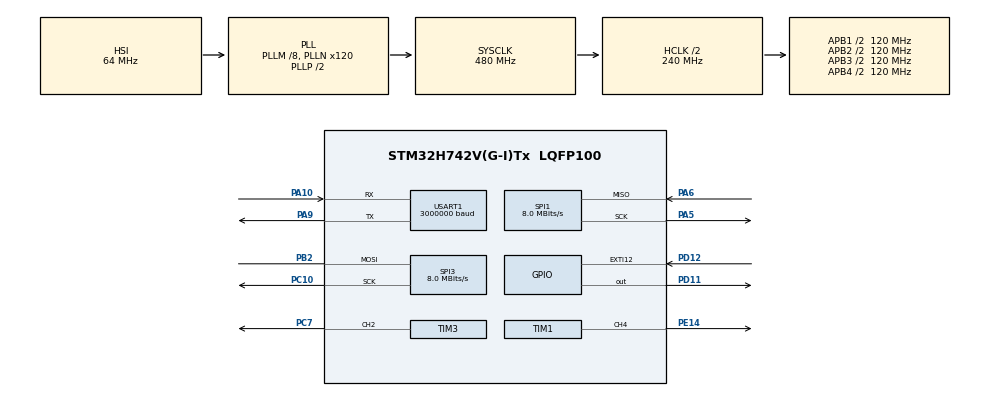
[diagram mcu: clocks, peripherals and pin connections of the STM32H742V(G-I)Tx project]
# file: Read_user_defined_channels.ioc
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CORTEX_M7.default_mode_Activation=1
Dma.Request0=SPI1_RX
Dma.Request1=USART1_TX
Dma.Request2=USART1_RX
Dma.SPI1_RX.0.Direction=DMA_PERIPH_TO_MEMORY
Dma.SPI1_RX.0.EventEnable=DISABLE
Dma.SPI1_RX.0.FIFOMode=DMA_FIFOMODE_DISABLE
Dma.SPI1_RX.0.Instance=DMA1_Stream0
Dma.SPI1_RX.0.MemDataAlignment=DMA_MDATAALIGN_HALFWORD
Dma.SPI1_RX.0.MemInc=DMA_MINC_ENABLE
Dma.SPI1_RX.0.Mode=DMA_NORMAL
Dma.SPI1_RX.0.PeriphDataAlignment=DMA_PDATAALIGN_HALFWORD
Dma.SPI1_RX.0.PeriphInc=DMA_PINC_DISABLE
Dma.SPI1_RX.0.Polarity=HAL_DMAMUX_REQ_GEN_RISING
Dma.SPI1_RX.0.Priority=DMA_PRIORITY_HIGH
Dma.SPI1_RX.0.RequestNumber=1
Dma.SPI1_RX.0.SignalID=NONE
Dma.SPI1_RX.0.SyncEnable=DISABLE
Dma.SPI1_RX.0.SyncPolarity=HAL_DMAMUX_SYNC_NO_EVENT
Dma.SPI1_RX.0.SyncRequestNumber=1
Dma.SPI1_RX.0.SyncSignalID=NONE
Dma.USART1_RX.2.Direction=DMA_PERIPH_TO_MEMORY
Dma.USART1_RX.2.EventEnable=DISABLE
Dma.USART1_RX.2.FIFOMode=DMA_FIFOMODE_DISABLE
Dma.USART1_RX.2.Instance=DMA1_Stream2
Dma.USART1_RX.2.MemDataAlignment=DMA_MDATAALIGN_BYTE
Dma.USART1_RX.2.MemInc=DMA_MINC_ENABLE
Dma.USART1_RX.2.Mode=DMA_CIRCULAR
Dma.USART1_RX.2.PeriphDataAlignment=DMA_PDATAALIGN_BYTE
Dma.USART1_RX.2.PeriphInc=DMA_PINC_DISABLE
Dma.USART1_RX.2.Polarity=HAL_DMAMUX_REQ_GEN_RISING
Dma.USART1_RX.2.Priority=DMA_PRIORITY_LOW
Dma.USART1_RX.2.RequestNumber=1
Dma.USART1_RX.2.SignalID=NONE
Dma.USART1_RX.2.SyncEnable=DISABLE
Dma.USART1_RX.2.SyncPolarity=HAL_DMAMUX_SYNC_NO_EVENT
Dma.USART1_RX.2.SyncRequestNumber=1
Dma.USART1_RX.2.SyncSignalID=NONE
Dma.USART1_TX.1.Direction=DMA_MEMORY_TO_PERIPH
Dma.USART1_TX.1.EventEnable=DISABLE
Dma.USART1_TX.1.FIFOMode=DMA_FIFOMODE_DISABLE
Dma.USART1_TX.1.Instance=DMA1_Stream1
Dma.USART1_TX.1.MemDataAlignment=DMA_MDATAALIGN_BYTE
Dma.USART1_TX.1.MemInc=DMA_MINC_ENABLE
Dma.USART1_TX.1.Mode=DMA_NORMAL
Dma.USART1_TX.1.PeriphDataAlignment=DMA_PDATAALIGN_BYTE
Dma.USART1_TX.1.PeriphInc=DMA_PINC_DISABLE
Dma.USART1_TX.1.Polarity=HAL_DMAMUX_REQ_GEN_RISING
Dma.USART1_TX.1.Priority=DMA_PRIORITY_LOW
Dma.USART1_TX.1.RequestNumber=1
Dma.USART1_TX.1.SignalID=NONE
Dma.USART1_TX.1.SyncEnable=DISABLE
Dma.USART1_TX.1.SyncPolarity=HAL_DMAMUX_SYNC_NO_EVENT
Dma.USART1_TX.1.SyncRequestNumber=1
Dma.USART1_TX.1.SyncSignalID=NONE
Mcu.Family=STM32H7
Mcu.Name=STM32H742V(G-I)Tx
Mcu.Package=LQFP100
NVIC.DMA1_Stream0_IRQn=true\:0\:0\:false\:false\:true\:false\:true\:true
NVIC.DMA1_Stream1_IRQn=true\:0\:0\:false\:false\:true\:false\:true\:true
NVIC.DMA1_Stream2_IRQn=true\:0\:0\:false\:false\:true\:false\:true\:true
NVIC.EXTI15_10_IRQn=true\:0\:0\:false\:false\:true\:true\:true\:true
NVIC.PriorityGroup=NVIC_PRIORITYGROUP_4
NVIC.SPI1_IRQn=true\:0\:0\:false\:false\:true\:false\:true\:true
NVIC.TIM2_IRQn=true\:0\:0\:false\:false\:true\:true\:true\:true
NVIC.USART1_IRQn=true\:0\:0\:false\:false\:true\:true\:true\:true
PA10.Mode=Asynchronous
PA10.Signal=USART1_RX
PA5.GPIO_Speed=GPIO_SPEED_FREQ_VERY_HIGH
PA5.Mode=RX_Only_Simplex_Unidirect_Master
PA5.Signal=SPI1_SCK
PA6.GPIO_Speed=GPIO_SPEED_FREQ_VERY_HIGH
PA6.Mode=RX_Only_Simplex_Unidirect_Master
PA6.Signal=SPI1_MISO
PA9.Mode=Asynchronous
PA9.Signal=USART1_TX
PB2.GPIO_Speed=GPIO_SPEED_FREQ_VERY_HIGH
PB2.Mode=Simplex_Bidirectional_Master
PB2.Signal=SPI3_MOSI
PC10.Mode=Simplex_Bidirectional_Master
PC10.Signal=SPI3_SCK
PC7.Signal=S_TIM3_CH2
PD11.PinState=GPIO_PIN_SET
PD11.Signal=GPIO_Output
PD12.GPIO_ModeDefaultEXTI=GPIO_MODE_IT_FALLING
PD12.GPIO_PuPd=GPIO_PULLUP
PD12.Signal=GPXTI12
PE14.Signal=S_TIM1_CH4
ProjectManager.HeapSize=0x200
ProjectManager.StackSize=0x400
ProjectManager.TargetToolchain=STM32CubeIDE
RCC.ADCFreq_Value=32000000
RCC.APB1Freq_Value=120000000
RCC.APB2Freq_Value=120000000
RCC.APB3Freq_Value=120000000
RCC.APB4Freq_Value=120000000
RCC.CortexFreq_Value=480000000
RCC.D1PPRE=RCC_APB3_DIV2
RCC.D2PPRE1=RCC_APB1_DIV2
RCC.D2PPRE2=RCC_APB2_DIV2
RCC.D3PPRE=RCC_APB4_DIV2
RCC.DIVM1=8
RCC.DIVM2=8
RCC.DIVN1=120
RCC.DIVN2=64
RCC.DIVP2=16
RCC.HCLKFreq_Value=240000000
RCC.HPRE=RCC_HCLK_DIV2
RCC.PLLFRACN=0
RCC.SPI123CLockSelection=RCC_SPI123CLKSOURCE_PLL2
RCC.SYSCLKFreq_VALUE=480000000
RCC.SYSCLKSource=RCC_SYSCLKSOURCE_PLLCLK
RCC.USBFreq_Value=480000000
SH.S_TIM1_CH4.0=TIM1_CH4,PWM Generation4 CH4
SH.S_TIM3_CH2.0=TIM3_CH2,PWM Generation2 CH2
SPI1.BaudRatePrescaler=SPI_BAUDRATEPRESCALER_4
SPI1.CLKPolarity=SPI_POLARITY_LOW
SPI1.CalculateBaudRate=8.0 MBits/s
SPI1.DataSize=SPI_DATASIZE_16BIT
SPI1.Direction=SPI_DIRECTION_2LINES_RXONLY
SPI1.Mode=SPI_MODE_MASTER
SPI1.VirtualType=VM_MASTER
SPI3.BaudRatePrescaler=SPI_BAUDRATEPRESCALER_4
SPI3.CLKPhase=SPI_PHASE_2EDGE
SPI3.CalculateBaudRate=8.0 MBits/s
SPI3.DataSize=SPI_DATASIZE_12BIT
SPI3.Direction=SPI_DIRECTION_1LINE
SPI3.Mode=SPI_MODE_MASTER
SPI3.VirtualType=VM_MASTER
TIM1.Channel-PWM\ Generation4\ CH4=TIM_CHANNEL_4
TIM1.Period=11
TIM1.Pulse-PWM\ Generation4\ CH4=6
TIM1.TIM_MasterOutputTrigger=TIM_TRGO_UPDATE
TIM1.TIM_MasterSlaveMode=TIM_MASTERSLAVEMODE_ENABLE
TIM2.Period=9
TIM2.Prescaler=23
TIM3.Channel-PWM\ Generation2\ CH2=TIM_CHANNEL_2
TIM3.Period=999
TIM3.Prescaler=19
TIM3.Pulse-PWM\ Generation2\ CH2=500
TIM3.TIM_MasterSlaveMode=TIM_MASTERSLAVEMODE_DISABLE
TIM5.Prescaler=239
USART1.BaudRate=3000000
USART1.VirtualMode-Asynchronous=VM_ASYNC
VP_MEMORYMAP_VS_MEMORYMAP.Mode=CurAppReg
VP_TIM1_VS_ClockSourceINT.Mode=Internal
VP_TIM2_VS_ClockSourceINT.Mode=Internal
VP_TIM3_VS_ClockSourceINT.Mode=Internal
VP_TIM3_VS_ClockSourceITR.Mode=TriggerSource_ITR0
VP_TIM3_VS_ControllerModeGated.Mode=Gated Mode
VP_TIM5_VS_ClockSourceINT.Mode=Internal
board=custom

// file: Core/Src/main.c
/* USER CODE BEGIN Header */
/**
  ******************************************************************************
  * @file           : main.c
  * @brief          : Main program body
  ******************************************************************************
  * @attention
  *
  * Copyright (c) 2025 STMicroelectronics.
  * All rights reserved.
  *
  * This software is licensed under terms that can be found in the LICENSE file
  * in the root directory of this software component.
  * If no LICENSE file comes with this software, it is provided AS-IS.
  *
  ******************************************************************************
  */
/* USER CODE END Header */
#include "main.h"

/* USER CODE BEGIN Includes */
#include <string.h>
#include <stdio.h>
/* USER CODE END Includes */

/* USER CODE BEGIN PTD */
#define NUM_CHANNELS 64
#define NUM_OF_DATA 32
#define HALF_NUM_OF_DATA 16
#define DIM_TEST_PACKET 8
#define MAX_SELECTED_CHANNELS NUM_CHANNELS

#define PACKET_SIZE 64
#define OFFSET 0
typedef struct __attribute__((packed)) {
    uint8_t  header[3];      // 0x3C, 0x3E, 0x00
    uint8_t n_channels;
    uint32_t timestamp_us;   // from TIM5
    int16_t  ch[PACKET_SIZE];         // channels
} SamplePacket;

/* USER CODE END PTD */

SPI_HandleTypeDef hspi1;
SPI_HandleTypeDef hspi3;
DMA_HandleTypeDef hdma_spi1_rx;

TIM_HandleTypeDef htim1;
TIM_HandleTypeDef htim2;
TIM_HandleTypeDef htim3;
TIM_HandleTypeDef htim5;

UART_HandleTypeDef huart1;
DMA_HandleTypeDef hdma_usart1_tx;
DMA_HandleTypeDef hdma_usart1_rx;

/* USER CODE BEGIN PV */
// --- System state flags ---
volatile uint8_t delay_counter = 0;		// Used during the TIM2 startup sequence (test/init logic)
volatile uint8_t acq_enabled   = 0;      // Acquisition enable/disable flag (controlled via UART commands)
volatile uint8_t uart_tx_done  = 1;      // UART DMA transmission ready flag
volatile uint16_t old_pos = 0;

// --- SPI Data Buffers ---
volatile uint16_t rx_spi_buffer[NUM_OF_DATA];   // Buffer used only for the initial test pattern sequence
volatile uint16_t spi_rx_buffer[NUM_CHANNELS];  // Main SPI data buffer (64 channels), filled by DMA

// --- Test pattern verification buffers ---
uint8_t test_packet_1[DIM_TEST_PACKET];         // Extracted bytes from the first half of rx_spi_buffer
uint8_t test_packet_2[DIM_TEST_PACKET];         // Extracted bytes from the second half of rx_spi_buffer

// Reference test packet used to validate ADC test mode output
static const uint8_t ref_packet[DIM_TEST_PACKET] =
    {0x30,0x00,0x66,0xF0,0x24,0x01,0xF6,0x80};

// --- DDC232 Configuration Command ---
static const uint16_t value = 0xEC0;    // 12-bit configuration command sent via SPI3

// --- UART Transmission Packet ---
static SamplePacket pkt;                // DMA-safe data packet (static to avoid stack corruption)

// --- UART Receive Buffers ---
#define CMD_BUFFER_SIZE 128
uint8_t uart_rx_dma_buffer[CMD_BUFFER_SIZE];
char command_buffer[CMD_BUFFER_SIZE];

uint8_t channel_mask[NUM_CHANNELS];   // 1 = canale attivo
uint8_t num_active_channels = 0;
/* USER CODE END PV */

void SystemClock_Config(void);
void PeriphCommonClock_Config(void);
static void MPU_Config(void);
static void MX_GPIO_Init(void);
static void MX_DMA_Init(void);
static void MX_TIM2_Init(void);
static void MX_USART1_UART_Init(void);
static void MX_SPI3_Init(void);
static void MX_SPI1_Init(void);
static void MX_TIM1_Init(void);
static void MX_TIM3_Init(void);
static void MX_TIM5_Init(void);
/* USER CODE BEGIN PFP */
static void enable_all_channels(void);
void parse_start_command(char *cmd);
/* USER CODE END PFP */

int main(void)
{

  /* MPU Configuration--------------------------------------------------------*/
  MPU_Config();

  /* MCU Configuration--------------------------------------------------------*/

  /* Reset of all peripherals, Initializes the Flash interface and the Systick. */
  HAL_Init();

  /* Configure the system clock */
  SystemClock_Config();

  /* Configure the peripherals common clocks */
  PeriphCommonClock_Config();

  /* Initialize all configured peripherals */
  MX_GPIO_Init();
  MX_DMA_Init();
  MX_TIM2_Init();
  MX_USART1_UART_Init();
  MX_SPI3_Init();
  MX_SPI1_Init();
  MX_TIM1_Init();
  MX_TIM3_Init();
  MX_TIM5_Init();
  /* USER CODE BEGIN 2 */
  HAL_UART_Receive_DMA(&huart1, uart_rx_dma_buffer, CMD_BUFFER_SIZE);
  __HAL_UART_ENABLE_IT(&huart1, UART_IT_IDLE);
  HAL_TIM_PWM_Start(&htim1, TIM_CHANNEL_4);
  HAL_TIM_Base_Start(&htim5);
  /* USER CODE END 2 */

  /* Infinite loop */
  while (1)
  {

  }
}

void SystemClock_Config(void)
{
  RCC_OscInitTypeDef RCC_OscInitStruct = {0};
  RCC_ClkInitTypeDef RCC_ClkInitStruct = {0};

  /** Supply configuration update enable
  */
  HAL_PWREx_ConfigSupply(PWR_LDO_SUPPLY);

  /** Configure the main internal regulator output voltage
  */
  __HAL_PWR_VOLTAGESCALING_CONFIG(PWR_REGULATOR_VOLTAGE_SCALE0);

  while(!__HAL_PWR_GET_FLAG(PWR_FLAG_VOSRDY)) {}

  /** Initializes the RCC Oscillators according to the specified parameters
  * in the RCC_OscInitTypeDef structure.
  */
  RCC_OscInitStruct.OscillatorType = RCC_OSCILLATORTYPE_HSI;
  RCC_OscInitStruct.HSIState = RCC_HSI_DIV1;
  RCC_OscInitStruct.HSICalibrationValue = RCC_HSICALIBRATION_DEFAULT;
  RCC_OscInitStruct.PLL.PLLState = RCC_PLL_ON;
  RCC_OscInitStruct.PLL.PLLSource = RCC_PLLSOURCE_HSI;
  RCC_OscInitStruct.PLL.PLLM = 8;
  RCC_OscInitStruct.PLL.PLLN = 120;
  RCC_OscInitStruct.PLL.PLLP = 2;
  RCC_OscInitStruct.PLL.PLLQ = 2;
  RCC_OscInitStruct.PLL.PLLR = 2;
  RCC_OscInitStruct.PLL.PLLRGE = RCC_PLL1VCIRANGE_3;
  RCC_OscInitStruct.PLL.PLLVCOSEL = RCC_PLL1VCOWIDE;
  RCC_OscInitStruct.PLL.PLLFRACN = 0;
  if (HAL_RCC_OscConfig(&RCC_OscInitStruct) != HAL_OK)
  {
    Error_Handler();
  }

  /** Initializes the CPU, AHB and APB buses clocks
  */
  RCC_ClkInitStruct.ClockType = RCC_CLOCKTYPE_HCLK|RCC_CLOCKTYPE_SYSCLK
                              |RCC_CLOCKTYPE_PCLK1|RCC_CLOCKTYPE_PCLK2
                              |RCC_CLOCKTYPE_D3PCLK1|RCC_CLOCKTYPE_D1PCLK1;
  RCC_ClkInitStruct.SYSCLKSource = RCC_SYSCLKSOURCE_PLLCLK;
  RCC_ClkInitStruct.SYSCLKDivider = RCC_SYSCLK_DIV1;
  RCC_ClkInitStruct.AHBCLKDivider = RCC_HCLK_DIV2;
  RCC_ClkInitStruct.APB3CLKDivider = RCC_APB3_DIV2;
  RCC_ClkInitStruct.APB1CLKDivider = RCC_APB1_DIV2;
  RCC_ClkInitStruct.APB2CLKDivider = RCC_APB2_DIV2;
  RCC_ClkInitStruct.APB4CLKDivider = RCC_APB4_DIV2;

  if (HAL_RCC_ClockConfig(&RCC_ClkInitStruct, FLASH_LATENCY_4) != HAL_OK)
  {
    Error_Handler();
  }
}

void PeriphCommonClock_Config(void)
{
  RCC_PeriphCLKInitTypeDef PeriphClkInitStruct = {0};

  /** Initializes the peripherals clock
  */
  PeriphClkInitStruct.PeriphClockSelection = RCC_PERIPHCLK_SPI3|RCC_PERIPHCLK_SPI1;
  PeriphClkInitStruct.PLL2.PLL2M = 8;
  PeriphClkInitStruct.PLL2.PLL2N = 64;
  PeriphClkInitStruct.PLL2.PLL2P = 16;
  PeriphClkInitStruct.PLL2.PLL2Q = 2;
  PeriphClkInitStruct.PLL2.PLL2R = 2;
  PeriphClkInitStruct.PLL2.PLL2RGE = RCC_PLL2VCIRANGE_3;
  PeriphClkInitStruct.PLL2.PLL2VCOSEL = RCC_PLL2VCOWIDE;
  PeriphClkInitStruct.PLL2.PLL2FRACN = 0;
  PeriphClkInitStruct.Spi123ClockSelection = RCC_SPI123CLKSOURCE_PLL2;
  if (HAL_RCCEx_PeriphCLKConfig(&PeriphClkInitStruct) != HAL_OK)
  {
    Error_Handler();
  }
}

static void MX_SPI1_Init(void)
{

  /* SPI1 parameter configuration*/
  hspi1.Instance = SPI1;
  hspi1.Init.Mode = SPI_MODE_MASTER;
  hspi1.Init.Direction = SPI_DIRECTION_2LINES_RXONLY;
  hspi1.Init.DataSize = SPI_DATASIZE_16BIT;
  hspi1.Init.CLKPolarity = SPI_POLARITY_LOW;
  hspi1.Init.CLKPhase = SPI_PHASE_1EDGE;
  hspi1.Init.NSS = SPI_NSS_SOFT;
  hspi1.Init.BaudRatePrescaler = SPI_BAUDRATEPRESCALER_4;
  hspi1.Init.FirstBit = SPI_FIRSTBIT_MSB;
  hspi1.Init.TIMode = SPI_TIMODE_DISABLE;
  hspi1.Init.CRCCalculation = SPI_CRCCALCULATION_DISABLE;
  hspi1.Init.CRCPolynomial = 0x0;
  hspi1.Init.NSSPMode = SPI_NSS_PULSE_ENABLE;
  hspi1.Init.NSSPolarity = SPI_NSS_POLARITY_LOW;
  hspi1.Init.FifoThreshold = SPI_FIFO_THRESHOLD_01DATA;
  hspi1.Init.TxCRCInitializationPattern = SPI_CRC_INITIALIZATION_ALL_ZERO_PATTERN;
  hspi1.Init.RxCRCInitializationPattern = SPI_CRC_INITIALIZATION_ALL_ZERO_PATTERN;
  hspi1.Init.MasterSSIdleness = SPI_MASTER_SS_IDLENESS_00CYCLE;
  hspi1.Init.MasterInterDataIdleness = SPI_MASTER_INTERDATA_IDLENESS_00CYCLE;
  hspi1.Init.MasterReceiverAutoSusp = SPI_MASTER_RX_AUTOSUSP_DISABLE;
  hspi1.Init.MasterKeepIOState = SPI_MASTER_KEEP_IO_STATE_DISABLE;
  hspi1.Init.IOSwap = SPI_IO_SWAP_DISABLE;
  if (HAL_SPI_Init(&hspi1) != HAL_OK)
  {
    Error_Handler();
  }

}

static void MX_SPI3_Init(void)
{

  /* SPI3 parameter configuration*/
  hspi3.Instance = SPI3;
  hspi3.Init.Mode = SPI_MODE_MASTER;
  hspi3.Init.Direction = SPI_DIRECTION_1LINE;
  hspi3.Init.DataSize = SPI_DATASIZE_12BIT;
  hspi3.Init.CLKPolarity = SPI_POLARITY_LOW;
  hspi3.Init.CLKPhase = SPI_PHASE_2EDGE;
  hspi3.Init.NSS = SPI_NSS_SOFT;
  hspi3.Init.BaudRatePrescaler = SPI_BAUDRATEPRESCALER_4;
  hspi3.Init.FirstBit = SPI_FIRSTBIT_MSB;
  hspi3.Init.TIMode = SPI_TIMODE_DISABLE;
  hspi3.Init.CRCCalculation = SPI_CRCCALCULATION_DISABLE;
  hspi3.Init.CRCPolynomial = 0x0;
  hspi3.Init.NSSPMode = SPI_NSS_PULSE_ENABLE;
  hspi3.Init.NSSPolarity = SPI_NSS_POLARITY_LOW;
  hspi3.Init.FifoThreshold = SPI_FIFO_THRESHOLD_01DATA;
  hspi3.Init.TxCRCInitializationPattern = SPI_CRC_INITIALIZATION_ALL_ZERO_PATTERN;
  hspi3.Init.RxCRCInitializationPattern = SPI_CRC_INITIALIZATION_ALL_ZERO_PATTERN;
  hspi3.Init.MasterSSIdleness = SPI_MASTER_SS_IDLENESS_00CYCLE;
  hspi3.Init.MasterInterDataIdleness = SPI_MASTER_INTERDATA_IDLENESS_00CYCLE;
  hspi3.Init.MasterReceiverAutoSusp = SPI_MASTER_RX_AUTOSUSP_DISABLE;
  hspi3.Init.MasterKeepIOState = SPI_MASTER_KEEP_IO_STATE_DISABLE;
  hspi3.Init.IOSwap = SPI_IO_SWAP_DISABLE;
  if (HAL_SPI_Init(&hspi3) != HAL_OK)
  {
    Error_Handler();
  }

}

static void MX_TIM1_Init(void)
{

  TIM_ClockConfigTypeDef sClockSourceConfig = {0};
  TIM_MasterConfigTypeDef sMasterConfig = {0};
  TIM_OC_InitTypeDef sConfigOC = {0};
  TIM_BreakDeadTimeConfigTypeDef sBreakDeadTimeConfig = {0};

  htim1.Instance = TIM1;
  htim1.Init.Prescaler = 0;
  htim1.Init.CounterMode = TIM_COUNTERMODE_UP;
  htim1.Init.Period = 11;
  htim1.Init.ClockDivision = TIM_CLOCKDIVISION_DIV1;
  htim1.Init.RepetitionCounter = 0;
  htim1.Init.AutoReloadPreload = TIM_AUTORELOAD_PRELOAD_DISABLE;
  if (HAL_TIM_Base_Init(&htim1) != HAL_OK)
  {
    Error_Handler();
  }
  sClockSourceConfig.ClockSource = TIM_CLOCKSOURCE_INTERNAL;
  if (HAL_TIM_ConfigClockSource(&htim1, &sClockSourceConfig) != HAL_OK)
  {
    Error_Handler();
  }
  if (HAL_TIM_PWM_Init(&htim1) != HAL_OK)
  {
    Error_Handler();
  }
  sMasterConfig.MasterOutputTrigger = TIM_TRGO_UPDATE;
  sMasterConfig.MasterOutputTrigger2 = TIM_TRGO2_RESET;
  sMasterConfig.MasterSlaveMode = TIM_MASTERSLAVEMODE_ENABLE;
  if (HAL_TIMEx_MasterConfigSynchronization(&htim1, &sMasterConfig) != HAL_OK)
  {
    Error_Handler();
  }
  sConfigOC.OCMode = TIM_OCMODE_PWM1;
  sConfigOC.Pulse = 6;
  sConfigOC.OCPolarity = TIM_OCPOLARITY_HIGH;
  sConfigOC.OCFastMode = TIM_OCFAST_DISABLE;
  sConfigOC.OCIdleState = TIM_OCIDLESTATE_RESET;
  sConfigOC.OCNIdleState = TIM_OCNIDLESTATE_RESET;
  if (HAL_TIM_PWM_ConfigChannel(&htim1, &sConfigOC, TIM_CHANNEL_4) != HAL_OK)
  {
    Error_Handler();
  }
  sBreakDeadTimeConfig.OffStateRunMode = TIM_OSSR_DISABLE;
  sBreakDeadTimeConfig.OffStateIDLEMode = TIM_OSSI_DISABLE;
  sBreakDeadTimeConfig.LockLevel = TIM_LOCKLEVEL_OFF;
  sBreakDeadTimeConfig.DeadTime = 0;
  sBreakDeadTimeConfig.BreakState = TIM_BREAK_DISABLE;
  sBreakDeadTimeConfig.BreakPolarity = TIM_BREAKPOLARITY_HIGH;
  sBreakDeadTimeConfig.BreakFilter = 0;
  sBreakDeadTimeConfig.Break2State = TIM_BREAK2_DISABLE;
  sBreakDeadTimeConfig.Break2Polarity = TIM_BREAK2POLARITY_HIGH;
  sBreakDeadTimeConfig.Break2Filter = 0;
  sBreakDeadTimeConfig.AutomaticOutput = TIM_AUTOMATICOUTPUT_DISABLE;
  if (HAL_TIMEx_ConfigBreakDeadTime(&htim1, &sBreakDeadTimeConfig) != HAL_OK)
  {
    Error_Handler();
  }
  HAL_TIM_MspPostInit(&htim1);

}

static void MX_TIM2_Init(void)
{

  TIM_ClockConfigTypeDef sClockSourceConfig = {0};
  TIM_MasterConfigTypeDef sMasterConfig = {0};

  htim2.Instance = TIM2;
  htim2.Init.Prescaler = 23;
  htim2.Init.CounterMode = TIM_COUNTERMODE_UP;
  htim2.Init.Period = 9;
  htim2.Init.ClockDivision = TIM_CLOCKDIVISION_DIV1;
  htim2.Init.AutoReloadPreload = TIM_AUTORELOAD_PRELOAD_DISABLE;
  if (HAL_TIM_Base_Init(&htim2) != HAL_OK)
  {
    Error_Handler();
  }
  sClockSourceConfig.ClockSource = TIM_CLOCKSOURCE_INTERNAL;
  if (HAL_TIM_ConfigClockSource(&htim2, &sClockSourceConfig) != HAL_OK)
  {
    Error_Handler();
  }
  sMasterConfig.MasterOutputTrigger = TIM_TRGO_RESET;
  sMasterConfig.MasterSlaveMode = TIM_MASTERSLAVEMODE_DISABLE;
  if (HAL_TIMEx_MasterConfigSynchronization(&htim2, &sMasterConfig) != HAL_OK)
  {
    Error_Handler();
  }

}

static void MX_TIM3_Init(void)
{

  TIM_ClockConfigTypeDef sClockSourceConfig = {0};
  TIM_SlaveConfigTypeDef sSlaveConfig = {0};
  TIM_MasterConfigTypeDef sMasterConfig = {0};
  TIM_OC_InitTypeDef sConfigOC = {0};

  htim3.Instance = TIM3;
  htim3.Init.Prescaler = 19;
  htim3.Init.CounterMode = TIM_COUNTERMODE_UP;
  htim3.Init.Period = 999;
  htim3.Init.ClockDivision = TIM_CLOCKDIVISION_DIV1;
  htim3.Init.AutoReloadPreload = TIM_AUTORELOAD_PRELOAD_DISABLE;
  if (HAL_TIM_Base_Init(&htim3) != HAL_OK)
  {
    Error_Handler();
  }
  sClockSourceConfig.ClockSource = TIM_CLOCKSOURCE_INTERNAL;
  if (HAL_TIM_ConfigClockSource(&htim3, &sClockSourceConfig) != HAL_OK)
  {
    Error_Handler();
  }
  if (HAL_TIM_PWM_Init(&htim3) != HAL_OK)
  {
    Error_Handler();
  }
  sSlaveConfig.SlaveMode = TIM_SLAVEMODE_GATED;
  sSlaveConfig.InputTrigger = TIM_TS_ITR0;
  if (HAL_TIM_SlaveConfigSynchro(&htim3, &sSlaveConfig) != HAL_OK)
  {
    Error_Handler();
  }
  sMasterConfig.MasterOutputTrigger = TIM_TRGO_RESET;
  sMasterConfig.MasterSlaveMode = TIM_MASTERSLAVEMODE_DISABLE;
  if (HAL_TIMEx_MasterConfigSynchronization(&htim3, &sMasterConfig) != HAL_OK)
  {
    Error_Handler();
  }
  sConfigOC.OCMode = TIM_OCMODE_PWM1;
  sConfigOC.Pulse = 500;
  sConfigOC.OCPolarity = TIM_OCPOLARITY_HIGH;
  sConfigOC.OCFastMode = TIM_OCFAST_DISABLE;
  if (HAL_TIM_PWM_ConfigChannel(&htim3, &sConfigOC, TIM_CHANNEL_2) != HAL_OK)
  {
    Error_Handler();
  }
  HAL_TIM_MspPostInit(&htim3);

}

static void MX_TIM5_Init(void)
{

  TIM_ClockConfigTypeDef sClockSourceConfig = {0};
  TIM_MasterConfigTypeDef sMasterConfig = {0};

  htim5.Instance = TIM5;
  htim5.Init.Prescaler = 239;
  htim5.Init.CounterMode = TIM_COUNTERMODE_UP;
  htim5.Init.Period = 4294967295;
  htim5.Init.ClockDivision = TIM_CLOCKDIVISION_DIV1;
  htim5.Init.AutoReloadPreload = TIM_AUTORELOAD_PRELOAD_DISABLE;
  if (HAL_TIM_Base_Init(&htim5) != HAL_OK)
  {
    Error_Handler();
  }
  sClockSourceConfig.ClockSource = TIM_CLOCKSOURCE_INTERNAL;
  if (HAL_TIM_ConfigClockSource(&htim5, &sClockSourceConfig) != HAL_OK)
  {
    Error_Handler();
  }
  sMasterConfig.MasterOutputTrigger = TIM_TRGO_RESET;
  sMasterConfig.MasterSlaveMode = TIM_MASTERSLAVEMODE_DISABLE;
  if (HAL_TIMEx_MasterConfigSynchronization(&htim5, &sMasterConfig) != HAL_OK)
  {
    Error_Handler();
  }

}

static void MX_USART1_UART_Init(void)
{

  huart1.Instance = USART1;
  huart1.Init.BaudRate = 3000000;
  huart1.Init.WordLength = UART_WORDLENGTH_8B;
  huart1.Init.StopBits = UART_STOPBITS_1;
  huart1.Init.Parity = UART_PARITY_NONE;
  huart1.Init.Mode = UART_MODE_TX_RX;
  huart1.Init.HwFlowCtl = UART_HWCONTROL_NONE;
  huart1.Init.OverSampling = UART_OVERSAMPLING_16;
  huart1.Init.OneBitSampling = UART_ONE_BIT_SAMPLE_DISABLE;
  huart1.Init.ClockPrescaler = UART_PRESCALER_DIV1;
  huart1.AdvancedInit.AdvFeatureInit = UART_ADVFEATURE_NO_INIT;
  if (HAL_UART_Init(&huart1) != HAL_OK)
  {
    Error_Handler();
  }
  if (HAL_UARTEx_SetTxFifoThreshold(&huart1, UART_TXFIFO_THRESHOLD_1_8) != HAL_OK)
  {
    Error_Handler();
  }
  if (HAL_UARTEx_SetRxFifoThreshold(&huart1, UART_RXFIFO_THRESHOLD_1_8) != HAL_OK)
  {
    Error_Handler();
  }
  if (HAL_UARTEx_DisableFifoMode(&huart1) != HAL_OK)
  {
    Error_Handler();
  }

}

static void MX_DMA_Init(void)
{

  /* DMA controller clock enable */
  __HAL_RCC_DMA1_CLK_ENABLE();

  /* DMA interrupt init */
  /* DMA1_Stream0_IRQn interrupt configuration */
  HAL_NVIC_SetPriority(DMA1_Stream0_IRQn, 0, 0);
  HAL_NVIC_EnableIRQ(DMA1_Stream0_IRQn);
  /* DMA1_Stream1_IRQn interrupt configuration */
  HAL_NVIC_SetPriority(DMA1_Stream1_IRQn, 0, 0);
  HAL_NVIC_EnableIRQ(DMA1_Stream1_IRQn);
  /* DMA1_Stream2_IRQn interrupt configuration */
  HAL_NVIC_SetPriority(DMA1_Stream2_IRQn, 0, 0);
  HAL_NVIC_EnableIRQ(DMA1_Stream2_IRQn);

}

static void MX_GPIO_Init(void)
{
  GPIO_InitTypeDef GPIO_InitStruct = {0};

  /* GPIO Ports Clock Enable */
  __HAL_RCC_GPIOA_CLK_ENABLE();
  __HAL_RCC_GPIOB_CLK_ENABLE();
  __HAL_RCC_GPIOE_CLK_ENABLE();
  __HAL_RCC_GPIOD_CLK_ENABLE();
  __HAL_RCC_GPIOC_CLK_ENABLE();

  /*Configure GPIO pin Output Level */
  HAL_GPIO_WritePin(GPIOD, GPIO_PIN_11, GPIO_PIN_SET);

  /*Configure GPIO pin : PD11 */
  GPIO_InitStruct.Pin = GPIO_PIN_11;
  GPIO_InitStruct.Mode = GPIO_MODE_OUTPUT_PP;
  GPIO_InitStruct.Pull = GPIO_NOPULL;
  GPIO_InitStruct.Speed = GPIO_SPEED_FREQ_LOW;
  HAL_GPIO_Init(GPIOD, &GPIO_InitStruct);

  /*Configure GPIO pin : PD12 */
  GPIO_InitStruct.Pin = GPIO_PIN_12;
  GPIO_InitStruct.Mode = GPIO_MODE_IT_FALLING;
  GPIO_InitStruct.Pull = GPIO_PULLUP;
  HAL_GPIO_Init(GPIOD, &GPIO_InitStruct);

  /* EXTI interrupt init*/
  HAL_NVIC_SetPriority(EXTI15_10_IRQn, 0, 0);
  HAL_NVIC_EnableIRQ(EXTI15_10_IRQn);

  /* USER CODE BEGIN MX_GPIO_Init_2 */
  /* UART1 */
  GPIO_InitStruct.Pin = GPIO_PIN_9 | GPIO_PIN_10;
  GPIO_InitStruct.Mode = GPIO_MODE_AF_PP;
  GPIO_InitStruct.Pull = GPIO_NOPULL;
  GPIO_InitStruct.Speed = GPIO_SPEED_FREQ_VERY_HIGH;
  GPIO_InitStruct.Alternate = GPIO_AF7_USART1;
  HAL_GPIO_Init(GPIOA, &GPIO_InitStruct);

  /* CONV ON PC7 */
  GPIO_InitStruct.Pin = GPIO_PIN_7;
  GPIO_InitStruct.Mode = GPIO_MODE_AF_PP;
  GPIO_InitStruct.Pull = GPIO_NOPULL;
  GPIO_InitStruct.Speed = GPIO_SPEED_FREQ_VERY_HIGH;
  GPIO_InitStruct.Alternate = GPIO_AF2_TIM3;
  HAL_GPIO_Init(GPIOC, &GPIO_InitStruct);

  /* CLK ON PE14 */
  GPIO_InitStruct.Pin = GPIO_PIN_14;
  GPIO_InitStruct.Mode = GPIO_MODE_AF_PP;
  GPIO_InitStruct.Pull = GPIO_NOPULL;
  GPIO_InitStruct.Speed = GPIO_SPEED_FREQ_VERY_HIGH;
  GPIO_InitStruct.Alternate = GPIO_AF13_TIM1;
  HAL_GPIO_Init(GPIOE, &GPIO_InitStruct);

  /* USER CODE END MX_GPIO_Init_2 */
}

/* USER CODE BEGIN 4 */

void HAL_TIM_PeriodElapsedCallback(TIM_HandleTypeDef *htim)
{
    if (htim->Instance != TIM2) return;

    switch(delay_counter)
    {
        case 1:
        {
        	HAL_GPIO_WritePin(GPIOD, GPIO_PIN_11, GPIO_PIN_SET);
        	break;
        }
        case 3:
        {
        	HAL_SPI_Transmit(&hspi3, (uint8_t*)&value, 1, HAL_MAX_DELAY);
        	break;
        }
        case 6:
        {
        	HAL_SPI_Receive(&hspi1, (uint8_t*)&rx_spi_buffer, NUM_OF_DATA, HAL_MAX_DELAY);
        	uint8_t *raw = (uint8_t*)rx_spi_buffer;

		  for(int i=0; i<DIM_TEST_PACKET; i++)
		  {
			  test_packet_1[i] = raw[(HALF_NUM_OF_DATA*2 - DIM_TEST_PACKET) + i];
		  }

		  for(int i=0; i<DIM_TEST_PACKET; i++)
		  {
			  test_packet_2[i] = raw[(NUM_OF_DATA*2 - DIM_TEST_PACKET) + i];
		  }

		  uint8_t match = (memcmp(test_packet_1, test_packet_2, DIM_TEST_PACKET) == 0);

		  uint8_t match_ref = (memcmp(test_packet_1, ref_packet, DIM_TEST_PACKET) == 0);

		  if(match && match_ref)
		  {
			  HAL_UART_Transmit(&huart1, (uint8_t*)"OK\r\n", 4, HAL_MAX_DELAY);
			  HAL_TIM_PWM_Start(&htim3, TIM_CHANNEL_2);
		  }
		  HAL_TIM_Base_Stop_IT(&htim2);
		  HAL_NVIC_DisableIRQ(TIM2_IRQn);
		  break;
        }
        default: break;
    }
    delay_counter++;
}

void HAL_GPIO_EXTI_Callback(uint16_t GPIO_Pin)
{
    if (GPIO_Pin == GPIO_PIN_12 && acq_enabled)
    {
        if (HAL_SPI_GetState(&hspi1) == HAL_SPI_STATE_READY)
        {
            HAL_SPI_Receive_DMA(&hspi1, (uint8_t*)spi_rx_buffer, NUM_CHANNELS);
        }
    }
}

void HAL_SPI_RxCpltCallback(SPI_HandleTypeDef *hspi)
{
    if(hspi->Instance == SPI1 && uart_tx_done && acq_enabled)
    {

        // Header
        pkt.header[0] = 0x3C;
        pkt.header[1] = 0x3E;
        pkt.header[2] = 0x00;

            // Timestamp (µs)
        pkt.timestamp_us = __HAL_TIM_GET_COUNTER(&htim5);

        uint8_t idx = 0;
		for (int i = 0; i < NUM_CHANNELS; i++)
		{
			if (channel_mask[i])
			{
				pkt.ch[idx++] = __builtin_bswap16(spi_rx_buffer[i]);
			}
		}
		pkt.n_channels = idx;
        uart_tx_done = 0;
        HAL_UART_Transmit_DMA(&huart1, (uint8_t*)&pkt, sizeof(pkt.header) + sizeof(pkt.n_channels) + sizeof(pkt.timestamp_us)+idx * sizeof(int16_t));
    }
}

void HAL_UART_TxCpltCallback(UART_HandleTypeDef *huart)
{
    if(huart->Instance == USART1)
    {
        uart_tx_done = 1; // pronto per prossima trasmissione
    }
}

void parse_start_command(char *cmd)
{
    // reset
    memset(channel_mask, 0, sizeof(channel_mask));
    num_active_channels = 0;

    char *p = strchr(cmd, ',');
    if (!p)
    {
        // solo "start"
        enable_all_channels();
        return;
    }

    p++; // dopo "start,"

    while (*p && num_active_channels < MAX_SELECTED_CHANNELS)
    {
        int a = 0, b = 0;

        if (sscanf(p, "%d-%d", &a, &b) == 2)
        {
            if (a < 1) a = 1;
            if (b > NUM_CHANNELS) b = NUM_CHANNELS;

            for (int i = a; i <= b; i++)
            {
                if (!channel_mask[i-1])
                {
                    channel_mask[i-1] = 1;
                    num_active_channels++;
                }
            }
        }
        else if (sscanf(p, "%d", &a) == 1)
        {
            if (a >= 1 && a <= NUM_CHANNELS && !channel_mask[a-1])
            {
                channel_mask[a-1] = 1;
                num_active_channels++;
            }
        }

        // vai al prossimo token
        p = strchr(p, ',');
        if (!p) break;
        p++;
    }
}

static void enable_all_channels(void)
{
    for (int i = 0; i < NUM_CHANNELS; i++)
        channel_mask[i] = 1;

    num_active_channels = NUM_CHANNELS;
}

/* USER CODE END 4 */

 /* MPU Configuration */

void MPU_Config(void)
{
  //MPU_Region_InitTypeDef MPU_InitStruct = {0};

  /* Disables the MPU */
  HAL_MPU_Disable();

}

void Error_Handler(void)
{
  __disable_irq();
  while (1)
  {
  }
}
